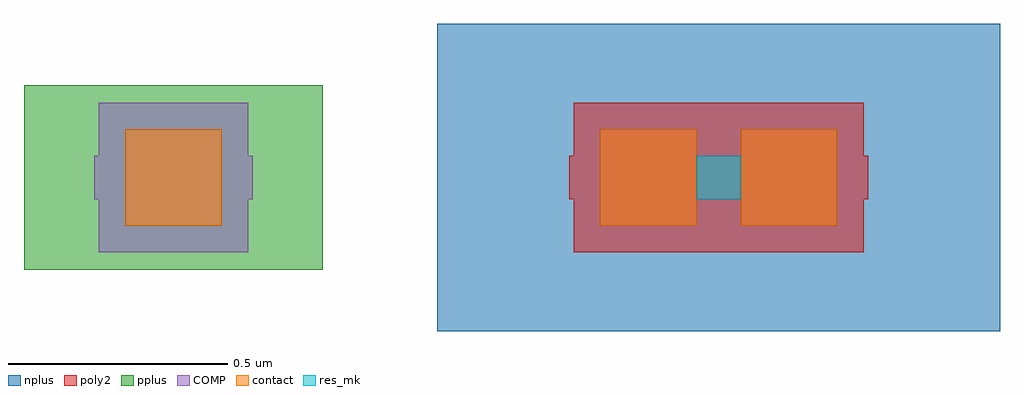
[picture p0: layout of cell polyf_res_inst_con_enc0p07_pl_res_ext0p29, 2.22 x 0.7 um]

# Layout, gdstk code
import gdstk
lib = gdstk.Library(unit=1e-6, precision=1e-09)
def R(c, l, rs):  # rectangles x0, y0, x1, y1
    for r in rs: c.add(gdstk.rectangle(r[:2], r[2:], *l))
COMP = (22, 0)
poly2 = (30, 0)
pplus = (31, 0)
nplus = (32, 0)
contact = (33, 0)
res_mk = (110, 5)

compass_43289b1a = lib.new_cell('compass_43289b1a')
R(compass_43289b1a, res_mk, [(-0.05,-0.05,0.05,0.05)])

rectangle_43289b1a = lib.new_cell('rectangle_43289b1a')
rectangle_43289b1a.add(gdstk.Reference(compass_43289b1a, (0.05,0.05)))

compass_71c34176 = lib.new_cell('compass_71c34176')
R(compass_71c34176, poly2, [(-0.34,-0.05,0.34,0.05)])

rectangle_71c34176 = lib.new_cell('rectangle_71c34176')
rectangle_71c34176.add(gdstk.Reference(compass_71c34176, (0.34,0.05)))

compass_f38dc993 = lib.new_cell('compass_f38dc993')
R(compass_f38dc993, contact, [(-0.11,-0.11,0.11,0.11)])

rectangle_f38dc993 = lib.new_cell('rectangle_f38dc993')
rectangle_f38dc993.add(gdstk.Reference(compass_f38dc993, (0.11,0.11)))

via_generator_9abf2eb8 = lib.new_cell('via_generator_9abf2eb8')
r = gdstk.Reference(rectangle_f38dc993, (-0.22,-0.06)); r.repetition = gdstk.Repetition(1, 1, v1=(0.5,0), v2=(0,0.5)); via_generator_9abf2eb8.add(r)

compass_c6da174f = lib.new_cell('compass_c6da174f')
R(compass_c6da174f, poly2, [(-0.17,-0.17,0.17,0.17)])

rectangle_c6da174f = lib.new_cell('rectangle_c6da174f')
rectangle_c6da174f.add(gdstk.Reference(compass_c6da174f, (0.17,0.17)))

via_stack_a7898081 = lib.new_cell('via_stack_a7898081')
via_stack_a7898081.add(gdstk.Reference(via_generator_9abf2eb8, (0,0)))
via_stack_a7898081.add(gdstk.Reference(rectangle_c6da174f, (-0.28,-0.12)))

compass_26f3594c = lib.new_cell('compass_26f3594c')
R(compass_26f3594c, nplus, [(-0.64,-0.35,0.64,0.35)])

rectangle_26f3594c = lib.new_cell('rectangle_26f3594c')
rectangle_26f3594c.add(gdstk.Reference(compass_26f3594c, (0.64,0.35)))

compass_9d2fae97 = lib.new_cell('compass_9d2fae97')
R(compass_9d2fae97, COMP, [(-0.18,-0.05,0.18,0.05)])

rectangle_9d2fae97 = lib.new_cell('rectangle_9d2fae97')
rectangle_9d2fae97.add(gdstk.Reference(compass_9d2fae97, (0.18,0.05)))

via_generator_cda28e9a = lib.new_cell('via_generator_cda28e9a')
r = gdstk.Reference(rectangle_f38dc993, (-1.3,-0.06)); r.repetition = gdstk.Repetition(1, 1, v1=(0.5,0), v2=(0,0.5)); via_generator_cda28e9a.add(r)

compass_9deecdff = lib.new_cell('compass_9deecdff')
R(compass_9deecdff, COMP, [(-0.17,-0.17,0.17,0.17)])

rectangle_9deecdff = lib.new_cell('rectangle_9deecdff')
rectangle_9deecdff.add(gdstk.Reference(compass_9deecdff, (0.17,0.17)))

via_stack_c2b3091e = lib.new_cell('via_stack_c2b3091e')
via_stack_c2b3091e.add(gdstk.Reference(via_generator_cda28e9a, (0,0)))
via_stack_c2b3091e.add(gdstk.Reference(rectangle_9deecdff, (-1.36,-0.12)))

compass_9956ceea = lib.new_cell('compass_9956ceea')
R(compass_9956ceea, pplus, [(-0.34,-0.21,0.34,0.21)])

rectangle_9956ceea = lib.new_cell('rectangle_9956ceea')
rectangle_9956ceea.add(gdstk.Reference(compass_9956ceea, (0.34,0.21)))

polyf_res_inst_con_enc0p = lib.new_cell('polyf_res_inst_con_enc0p07_pl_res_ext0p29')
polyf_res_inst_con_enc0p.add(gdstk.Reference(rectangle_43289b1a, (0,0)))
polyf_res_inst_con_enc0p.add(gdstk.Reference(rectangle_71c34176, (-0.29,0)))
r = gdstk.Reference(via_stack_a7898081, (0,0)); r.repetition = gdstk.Repetition(2, 1, v1=(0.32,0), v2=(0,1)); polyf_res_inst_con_enc0p.add(r)
polyf_res_inst_con_enc0p.add(gdstk.Reference(rectangle_26f3594c, (-0.59,-0.3)))
polyf_res_inst_con_enc0p.add(gdstk.Reference(rectangle_9d2fae97, (-1.37,0)))
polyf_res_inst_con_enc0p.add(gdstk.Reference(via_stack_c2b3091e, (0,0)))
polyf_res_inst_con_enc0p.add(gdstk.Reference(rectangle_9956ceea, (-1.53,-0.16)))

lib.write_gds('polyf_res_inst_con_enc0p07_pl_res_ext0p29.gds')
